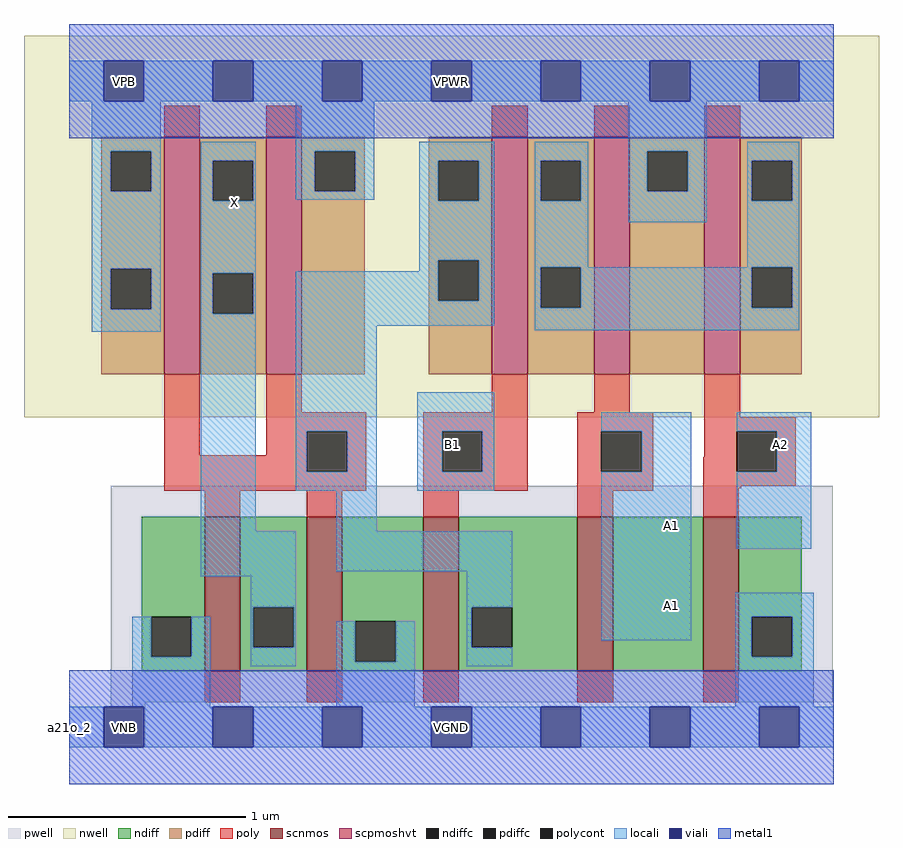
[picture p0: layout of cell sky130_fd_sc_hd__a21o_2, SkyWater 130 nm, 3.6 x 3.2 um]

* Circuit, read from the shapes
.subckt sky130_fd_sc_hd__a21o_2 A1 A2 B1 VGND VNB VPB VPWR X
XM1 X n1 VGND VNB sky130_fd_pr__nfet_01v8 w=0.65 l=0.15 m=2
XM2 n1 B1 VGND VNB sky130_fd_pr__nfet_01v8 w=0.65 l=0.15
XM3 n2 A1 n1 VNB sky130_fd_pr__nfet_01v8 w=0.65 l=0.15
XM4 VGND A2 n2 VNB sky130_fd_pr__nfet_01v8 w=0.65 l=0.15
XM5 X n1 VPWR VPB sky130_fd_pr__pfet_01v8_hvt w=1 l=0.15 m=2
XM6 n3 B1 n1 VPB sky130_fd_pr__pfet_01v8_hvt w=1 l=0.15
XM7 VPWR A1 n3 VPB sky130_fd_pr__pfet_01v8_hvt w=1 l=0.15
XM8 n3 A2 VPWR VPB sky130_fd_pr__pfet_01v8_hvt w=1 l=0.15
.ends

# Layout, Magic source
magic
tech sky130B
magscale 1 2
<< nwell >>
rect -38 261 682 582
<< pwell >>
rect 35 21 643 203
rect 35 17 64 21
rect 30 -17 64 17
<< scnmos >>
rect 114 47 144 177
rect 200 47 230 177
rect 298 47 328 177
rect 428 47 458 177
rect 534 47 564 177
<< scpmoshvt >>
rect 80 297 110 497
rect 166 297 196 497
rect 356 297 386 497
rect 442 297 472 497
rect 535 297 565 497
<< ndiff >>
rect 61 93 114 177
rect 61 59 69 93
rect 103 59 114 93
rect 61 47 114 59
rect 144 101 200 177
rect 144 67 155 101
rect 189 67 200 101
rect 144 47 200 67
rect 230 89 298 177
rect 230 55 241 89
rect 275 55 298 89
rect 230 47 298 55
rect 328 101 428 177
rect 328 67 339 101
rect 373 67 428 101
rect 328 47 428 67
rect 458 47 534 177
rect 564 93 617 177
rect 564 59 575 93
rect 609 59 617 93
rect 564 47 617 59
<< pdiff >>
rect 27 485 80 497
rect 27 451 35 485
rect 69 451 80 485
rect 27 386 80 451
rect 27 352 35 386
rect 69 352 80 386
rect 27 297 80 352
rect 110 477 166 497
rect 110 443 121 477
rect 155 443 166 477
rect 110 382 166 443
rect 110 348 121 382
rect 155 348 166 382
rect 110 297 166 348
rect 196 485 249 497
rect 196 451 207 485
rect 241 451 249 485
rect 196 297 249 451
rect 303 477 356 497
rect 303 443 311 477
rect 345 443 356 477
rect 303 393 356 443
rect 303 359 311 393
rect 345 359 356 393
rect 303 297 356 359
rect 386 477 442 497
rect 386 443 397 477
rect 431 443 442 477
rect 386 387 442 443
rect 386 353 397 387
rect 431 353 442 387
rect 386 297 442 353
rect 472 485 535 497
rect 472 451 487 485
rect 521 451 535 485
rect 472 297 535 451
rect 565 477 617 497
rect 565 443 575 477
rect 609 443 617 477
rect 565 387 617 443
rect 565 353 575 387
rect 609 353 617 387
rect 565 297 617 353
<< ndiffc >>
rect 69 59 103 93
rect 155 67 189 101
rect 241 55 275 89
rect 339 67 373 101
rect 575 59 609 93
<< pdiffc >>
rect 35 451 69 485
rect 35 352 69 386
rect 121 443 155 477
rect 121 348 155 382
rect 207 451 241 485
rect 311 443 345 477
rect 311 359 345 393
rect 397 443 431 477
rect 397 353 431 387
rect 487 451 521 485
rect 575 443 609 477
rect 575 353 609 387
<< poly >>
rect 80 497 110 523
rect 166 497 196 523
rect 356 497 386 523
rect 442 497 472 523
rect 535 497 565 523
rect 80 229 110 297
rect 166 265 196 297
rect 356 265 386 297
rect 442 265 472 297
rect 166 249 250 265
rect 166 229 200 249
rect 80 215 200 229
rect 234 215 250 249
rect 80 199 250 215
rect 298 249 386 265
rect 298 215 314 249
rect 348 215 386 249
rect 298 199 386 215
rect 428 249 492 265
rect 428 215 448 249
rect 482 215 492 249
rect 535 261 565 297
rect 535 249 612 261
rect 535 227 562 249
rect 428 199 492 215
rect 534 215 562 227
rect 596 215 612 249
rect 534 203 612 215
rect 534 201 566 203
rect 114 177 144 199
rect 200 177 230 199
rect 298 177 328 199
rect 428 177 458 199
rect 534 177 564 201
rect 114 21 144 47
rect 200 21 230 47
rect 298 21 328 47
rect 428 21 458 47
rect 534 21 564 47
<< polycont >>
rect 200 215 234 249
rect 314 215 348 249
rect 448 215 482 249
rect 562 215 596 249
<< locali >>
rect 0 527 29 561
rect 63 527 121 561
rect 155 527 213 561
rect 247 527 305 561
rect 339 527 397 561
rect 431 527 489 561
rect 523 527 581 561
rect 615 527 644 561
rect 19 485 77 527
rect 19 451 35 485
rect 69 451 77 485
rect 19 386 77 451
rect 19 352 35 386
rect 69 352 77 386
rect 19 333 77 352
rect 111 477 157 493
rect 111 443 121 477
rect 155 443 157 477
rect 191 485 257 527
rect 191 451 207 485
rect 241 451 257 485
rect 191 444 257 451
rect 295 477 358 493
rect 111 382 157 443
rect 295 443 311 477
rect 345 443 358 477
rect 295 393 358 443
rect 295 384 311 393
rect 111 348 121 382
rect 155 348 157 382
rect 111 165 157 348
rect 191 359 311 384
rect 345 359 358 393
rect 191 338 358 359
rect 392 477 437 493
rect 392 443 397 477
rect 431 443 437 477
rect 392 387 437 443
rect 471 485 537 527
rect 471 451 487 485
rect 521 451 537 485
rect 471 425 537 451
rect 571 477 615 493
rect 571 443 575 477
rect 609 443 615 477
rect 571 387 615 443
rect 392 353 397 387
rect 431 353 575 387
rect 609 353 615 387
rect 191 249 259 338
rect 392 334 615 353
rect 191 215 200 249
rect 234 215 259 249
rect 191 199 259 215
rect 293 249 358 282
rect 293 215 314 249
rect 348 215 358 249
rect 293 199 358 215
rect 448 249 524 265
rect 482 215 524 249
rect 225 165 259 199
rect 111 127 191 165
rect 225 131 373 165
rect 153 101 191 127
rect 53 59 69 93
rect 103 59 119 93
rect 53 17 119 59
rect 153 67 155 101
rect 189 67 191 101
rect 335 101 373 131
rect 153 51 191 67
rect 225 55 241 89
rect 275 55 291 89
rect 225 17 291 55
rect 335 67 339 101
rect 448 73 524 215
rect 562 249 625 265
rect 596 215 625 249
rect 562 150 625 215
rect 561 93 627 113
rect 335 51 373 67
rect 561 59 575 93
rect 609 59 627 93
rect 561 17 627 59
rect 0 -17 29 17
rect 63 -17 121 17
rect 155 -17 213 17
rect 247 -17 305 17
rect 339 -17 397 17
rect 431 -17 489 17
rect 523 -17 581 17
rect 615 -17 644 17
<< viali >>
rect 29 527 63 561
rect 121 527 155 561
rect 213 527 247 561
rect 305 527 339 561
rect 397 527 431 561
rect 489 527 523 561
rect 581 527 615 561
rect 29 -17 63 17
rect 121 -17 155 17
rect 213 -17 247 17
rect 305 -17 339 17
rect 397 -17 431 17
rect 489 -17 523 17
rect 581 -17 615 17
<< metal1 >>
rect 0 561 644 592
rect 0 527 29 561
rect 63 527 121 561
rect 155 527 213 561
rect 247 527 305 561
rect 339 527 397 561
rect 431 527 489 561
rect 523 527 581 561
rect 615 527 644 561
rect 0 496 644 527
rect 0 17 644 48
rect 0 -17 29 17
rect 63 -17 121 17
rect 155 -17 213 17
rect 247 -17 305 17
rect 339 -17 397 17
rect 431 -17 489 17
rect 523 -17 581 17
rect 615 -17 644 17
rect 0 -48 644 -17
<< labels >>
flabel locali s 122 425 156 459 0 FreeSans 340 0 0 0 X
port 8 nsew signal output
flabel locali s 306 221 340 255 0 FreeSans 340 0 0 0 B1
port 3 nsew signal input
flabel locali s 490 153 524 187 0 FreeSans 340 0 0 0 A1
port 1 nsew signal input
flabel locali s 582 221 616 255 0 FreeSans 340 0 0 0 A2
port 2 nsew signal input
flabel locali s 490 85 524 119 0 FreeSans 340 0 0 0 A1
port 1 nsew signal input
flabel pwell s 30 -17 64 17 0 FreeSans 200 0 0 0 VNB
port 5 nsew ground bidirectional
flabel nwell s 30 527 64 561 0 FreeSans 200 0 0 0 VPB
port 6 nsew power bidirectional
flabel metal1 s 30 -17 64 17 0 FreeSans 200 0 0 0 VGND
port 4 nsew ground bidirectional abutment
flabel metal1 s 30 527 64 561 0 FreeSans 200 0 0 0 VPWR
port 7 nsew power bidirectional abutment
rlabel comment s 0 0 0 0 4 a21o_2
rlabel metal1 s 0 -48 644 48 1 VGND
port 4 nsew ground bidirectional abutment
rlabel metal1 s 0 496 644 592 1 VPWR
port 7 nsew power bidirectional abutment
<< properties >>
string FIXED_BBOX 0 0 644 544
string GDS_END 4022166
string GDS_FILE $PDKPATH/libs.ref/sky130_fd_sc_hd/gds/sky130_fd_sc_hd.gds
string GDS_START 4016612
string LEFclass CORE
string LEFsite unithd
string LEFsymmetry X Y R90
string path 0.000 0.000 16.100 0.000 
<< end >>
